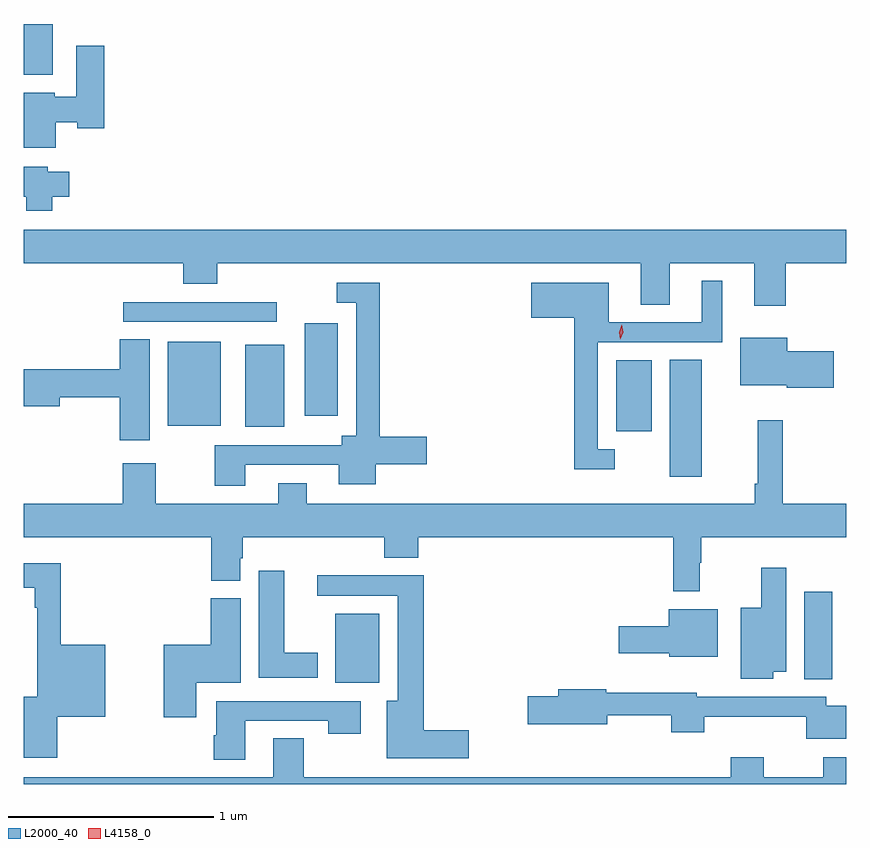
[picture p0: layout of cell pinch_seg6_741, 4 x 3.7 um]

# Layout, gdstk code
import gdstk
lib = gdstk.Library(unit=1e-6, precision=1e-09)
def R(c, l, rs):  # rectangles x0, y0, x1, y1
    for r in rs: c.add(gdstk.rectangle(r[:2], r[2:], *l))
def P(c, l, *ps):  # polygons
    for p in ps: c.add(gdstk.Polygon(p, *l))
L2000_40 = (2000, 40)
L4158_0 = (4158, 0)

pinch_seg6_741 = lib.new_cell('pinch_seg6_741')
R(pinch_seg6_741, L2000_40, [(614.84,915.992,615.052,916.327), (617.12,916.009,617.257,916.435), (616.466,916.995,616.621,917.564), (616.205,917.216,616.378,917.56), (614.402,917.237,614.59,917.635), (614.024,917.243,614.281,917.65), (614.69,917.292,614.851,917.74), (613.809,917.748,614.554,917.844)])
P(pinch_seg6_741, L2000_40, [(613.465,919.196),(613.325,919.196),(613.325,919.06),(613.324,919.06),(613.324,918.95),(613.465,918.95)],
  [(613.48,918.719),(613.584,918.719),(613.584,918.689),(613.715,918.689),(613.715,919.09),(613.58,919.09),(613.58,918.841),(613.476,918.841),(613.476,918.862),(613.324,918.862),(613.324,918.593),(613.48,918.593)],
  [(613.463,918.356),(613.546,918.356),(613.546,918.478),(613.44,918.478),(613.44,918.502),(613.324,918.502),(613.324,918.356),(613.335,918.356),(613.335,918.287),(613.463,918.287)],
  [(617.03,918.032),(617.324,918.032),(617.324,918.196),(613.324,918.196),(613.324,918.032),(614.099,918.032),(614.099,917.933),(614.264,917.933),(614.264,918.032),(616.325,918.032),(616.325,917.83),(616.465,917.83),(616.465,918.032),(616.877,918.032),(616.877,917.826),(617.03,917.826)],
  [(616.198,917.127),(616.116,917.127),(616.116,917.649),(616.72,917.649),(616.72,917.947),(616.622,917.947),(616.622,917.745),(616.168,917.745),(616.168,917.938),(615.792,917.938),(615.792,917.768),(616,917.768),(616,917.03),(616.198,917.03)],
  [(614.401,917.052),(614.855,917.052),(614.855,916.958),(615.037,916.958),(615.037,917.054),(615.283,917.054),(615.283,917.189),(615.056,917.189),(615.056,917.937),(614.847,917.937),(614.847,917.841),(614.94,917.841),(614.94,917.194),(614.87,917.194),(614.87,917.148),(614.254,917.148),(614.254,916.95),(614.401,916.95)],
  [(617.263,917.604),(617.038,917.604),(617.038,917.671),(616.808,917.671),(616.808,917.438),(617.034,917.438),(617.034,917.426),(617.263,917.426)],
  [(613.936,917.663),(613.79,917.663),(613.79,917.516),(613.324,917.516),(613.324,917.338),(613.498,917.338),(613.498,917.38),(613.79,917.38),(613.79,917.172),(613.936,917.172)],
  [(616.612,916.577),(616.619,916.577),(616.619,916.7),(617.324,916.7),(617.324,916.864),(617.015,916.864),(617.015,917.269),(616.894,917.269),(616.894,916.96),(616.879,916.96),(616.879,916.864),(614.701,916.864),(614.701,916.963),(614.561,916.963),(614.561,916.864),(613.965,916.864),(613.965,917.059),(613.805,917.059),(613.805,916.864),(613.324,916.864),(613.324,916.7),(614.237,916.7),(614.237,916.489),(614.377,916.489),(614.377,916.599),(614.39,916.599),(614.39,916.7),(615.077,916.7),(615.077,916.601),(615.242,916.601),(615.242,916.7),(616.483,916.7),(616.483,916.437),(616.612,916.437)],
  [(613.486,915.827),(613.72,915.827),(613.72,916.177),(613.505,916.177),(613.505,916.573),(613.324,916.573),(613.324,916.454),(613.377,916.454),(613.377,916.358),(613.389,916.358),(613.389,915.924),(613.324,915.924),(613.324,915.627),(613.486,915.627)],
  [(616.969,916.046),(617.032,916.046),(617.032,916.552),(616.91,916.552),(616.91,916.357),(616.811,916.357),(616.811,916.013),(616.969,916.013)],
  [(614.755,916.138),(614.59,916.138),(614.59,916.537),(614.468,916.537),(614.468,916.016),(614.755,916.016)],
  [(615.487,915.761),(615.269,915.761),(615.269,916.514),(614.751,916.514),(614.751,916.416),(615.143,916.416),(615.143,915.904),(615.089,915.904),(615.089,915.626),(615.487,915.626)],
  [(614.164,915.992),(614.38,915.992),(614.38,916.404),(614.234,916.404),(614.234,916.177),(614.006,916.177),(614.006,915.825),(614.164,915.825)],
  [(616.699,916.351),(616.46,916.351),(616.46,916.266),(616.218,916.266),(616.218,916.136),(616.464,916.136),(616.464,916.118),(616.699,916.118)],
  [(617.324,915.88),(617.226,915.88),(617.226,915.924),(616.596,915.924),(616.596,915.944),(616.158,915.944),(616.158,915.962),(615.923,915.962),(615.923,915.926),(615.774,915.926),(615.774,915.791),(616.162,915.791),(616.162,915.834),(616.474,915.834),(616.474,915.752),(616.634,915.752),(616.634,915.827),(617.13,915.827),(617.13,915.719),(617.324,915.719)],
  [(614.401,915.807),(614.806,915.807),(614.806,915.744),(614.962,915.744),(614.962,915.903),(614.261,915.903),(614.261,915.737),(614.249,915.737),(614.249,915.618),(614.401,915.618)],
  [(617.324,915.631),(617.212,915.631),(617.212,915.532),(616.923,915.532),(616.923,915.631),(616.763,915.631),(616.763,915.532),(614.685,915.532),(614.685,915.722),(614.537,915.722),(614.537,915.532),(613.324,915.532),(613.324,915.5),(617.324,915.5)])
P(pinch_seg6_741, L4158_0, [(616.226,917.662),(616.226,917.662),(616.219,917.698),(616.231,917.734),(616.231,917.734),(616.231,917.734),(616.239,917.697),(616.226,917.662)])

lib.write_gds('pinch_seg6_741.gds')
